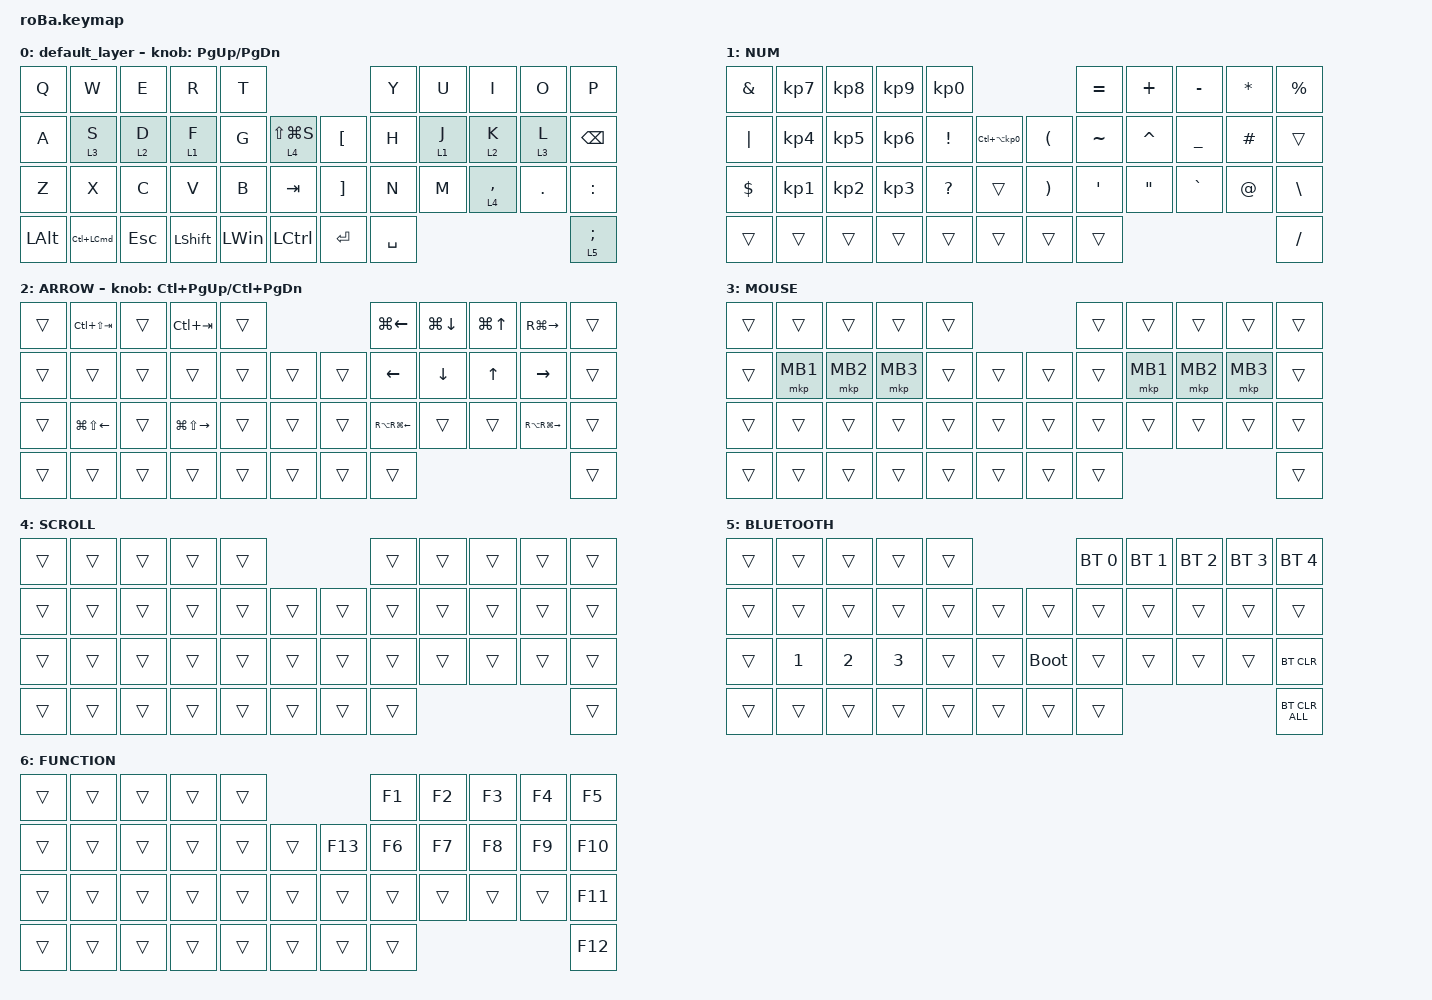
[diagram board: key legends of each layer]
#include <behaviors.dtsi>
#include <dt-bindings/zmk/bt.h>
#include <dt-bindings/zmk/keys.h>
#include <dt-bindings/zmk/pointing.h>

&mt {
    flavor = "balanced";
    quick-tap-ms = <0>;
};

&trackball {
    // automouse-layer = <4>;
    scroll-layers = <4>;

    // arrows {
    //     layers = <3>;
    //     bindings =
    //         <&kp RIGHT_ARROW>,
    //         <&kp LEFT_ARROW>,
    //         <&kp UP_ARROW>,
    //         <&kp DOWN_ARROW>;

    //     tick = <10>;
    //     wait-ms = <5>;
    //     tap-ms = <5>;
    // };
};

/ {
    combos {
        compatible = "zmk,combos";

        tab {
            bindings = <&kp TAB>;
            key-positions = <11 12>;
        };

        shift_tab {
            bindings = <&kp LS(TAB)>;
            key-positions = <12 13>;
        };

        muhennkann {
            bindings = <&to_layer_0 INT_MUHENKAN>;
            key-positions = <11 10>;
        };

        double_quotation {
            bindings = <&kp DOUBLE_QUOTES>;
            key-positions = <20 21>;
        };

        eq {
            bindings = <&kp EQUAL>;
            key-positions = <24 25>;
        };
    };

    macros {
        to_layer_0: to_layer_0 {
            compatible = "zmk,behavior-macro-one-param";
            #binding-cells = <1>;
            bindings = <&to 0 &macro_param_1to1 &kp MACRO_PLACEHOLDER>;
            label = "TO_LAYER_0";
        };
    };

    behaviors {
        lt_to_layer_0: lt_to_layer_0 {
            compatible = "zmk,behavior-hold-tap";
            label = "LAYER_TAP_TO_0";
            bindings = <&mo>, <&to_layer_0>;

            #binding-cells = <2>;
            tapping-term-ms = <200>;
        };
    };

    keymap {
        compatible = "zmk,keymap";

        default_layer {
            bindings = <
&kp Q         &kp W                 &kp E       &kp R           &kp T                                                  &kp Y      &kp U    &kp I        &kp O    &kp P
&kp A         &lt 3 S               &lt 2 D     &lt 1 F         &kp G         &lt 4 LS(LG(S))       &kp LEFT_BRACKET   &kp H      &lt 1 J  &lt 2 K      &lt 3 L  &kp BACKSPACE
&kp Z         &kp X                 &kp C       &kp V           &kp B         &kp TAB               &kp RIGHT_BRACKET  &kp N      &kp M    &lt 4 COMMA  &kp DOT  &kp COLON
&kp LEFT_ALT  &kp LC(LEFT_COMMAND)  &kp ESCAPE  &kp LEFT_SHIFT  &kp LEFT_WIN  &kp LEFT_CONTROL      &kp ENTER          &kp SPACE                                 &lt 5 SEMI
            >;

            sensor-bindings = <&inc_dec_kp PG_UP PAGE_DOWN>;
        };

        NUM {
            bindings = <
&kp AMPERSAND  &kp KP_NUMBER_7  &kp KP_NUMBER_8  &kp KP_NUMBER_9  &kp KP_NUMBER_0                                                      &kp EQUAL         &kp PLUS           &kp MINUS  &kp ASTERISK  &kp PERCENT
&kp PIPE       &kp KP_NUMBER_4  &kp KP_NUMBER_5  &kp KP_NUMBER_6  &kp EXCL         &kp LC(LA(KP_NUMBER_0))      &kp LEFT_PARENTHESIS   &kp TILDE         &kp CARET          &kp UNDER  &kp HASH      &trans
&kp DOLLAR     &kp KP_NUMBER_1  &kp KP_NUMBER_2  &kp KP_NUMBER_3  &kp QUESTION     &trans                       &kp RIGHT_PARENTHESIS  &kp SINGLE_QUOTE  &kp DOUBLE_QUOTES  &kp GRAVE  &kp AT        &kp BACKSLASH
&trans         &trans           &trans           &trans           &trans           &trans                       &trans                 &trans                                                        &kp SLASH
            >;
        };

        ARROW {
            bindings = <
&trans  &kp LC(LS(TAB))         &trans  &kp LC(TAB)              &trans                      &kp LG(LEFT_ARROW)  &kp LG(DOWN)    &kp LG(UP_ARROW)  &kp RG(RIGHT)      &trans
&trans  &trans                  &trans  &trans                   &trans  &trans      &trans  &kp LEFT            &kp DOWN_ARROW  &kp UP_ARROW      &kp RIGHT          &trans
&trans  &kp LG(LS(LEFT_ARROW))  &trans  &kp LG(LS(RIGHT_ARROW))  &trans  &trans      &trans  &kp RA(RG(LEFT))    &trans          &trans            &kp RA(RG(RIGHT))  &trans
&trans  &trans                  &trans  &trans                   &trans  &trans      &trans  &trans                                                                   &trans
            >;

            sensor-bindings = <&inc_dec_kp LC(PAGE_UP) LC(PAGE_DOWN)>;
        };

        MOUSE {
            bindings = <
&trans  &trans    &trans    &trans    &trans                      &trans  &trans    &trans    &trans    &trans
&trans  &mkp MB1  &mkp MB2  &mkp MB3  &trans  &trans      &trans  &trans  &mkp MB1  &mkp MB2  &mkp MB3  &trans
&trans  &trans    &trans    &trans    &trans  &trans      &trans  &trans  &trans    &trans    &trans    &trans
&trans  &trans    &trans    &trans    &trans  &trans      &trans  &trans                                &trans
            >;
        };

        SCROLL {
            bindings = <
&trans  &trans  &trans  &trans  &trans                      &trans  &trans  &trans  &trans  &trans
&trans  &trans  &trans  &trans  &trans  &trans      &trans  &trans  &trans  &trans  &trans  &trans
&trans  &trans  &trans  &trans  &trans  &trans      &trans  &trans  &trans  &trans  &trans  &trans
&trans  &trans  &trans  &trans  &trans  &trans      &trans  &trans                          &trans
            >;
        };

        BLUETOOTH {
            bindings = <
&trans  &trans        &trans        &trans        &trans                           &bt BT_SEL 0  &bt BT_SEL 1  &bt BT_SEL 2  &bt BT_SEL 3  &bt BT_SEL 4
&trans  &trans        &trans        &trans        &trans  &trans      &trans       &trans        &trans        &trans        &trans        &trans
&trans  &kp NUMBER_1  &kp NUMBER_2  &kp NUMBER_3  &trans  &trans      &bootloader  &trans        &trans        &trans        &trans        &bt BT_CLR
&trans  &trans        &trans        &trans        &trans  &trans      &trans       &trans                                                  &bt BT_CLR_ALL
            >;
        };

        FUNCTION {
            bindings = <
&trans  &trans  &trans  &trans  &trans                       &kp F1  &kp F2  &kp F3  &kp F4  &kp F5
&trans  &trans  &trans  &trans  &trans  &trans      &kp F13  &kp F6  &kp F7  &kp F8  &kp F9  &kp F10
&trans  &trans  &trans  &trans  &trans  &trans      &trans   &trans  &trans  &trans  &trans  &kp F11
&trans  &trans  &trans  &trans  &trans  &trans      &trans   &trans                          &kp F12
            >;
        };
    };
};
